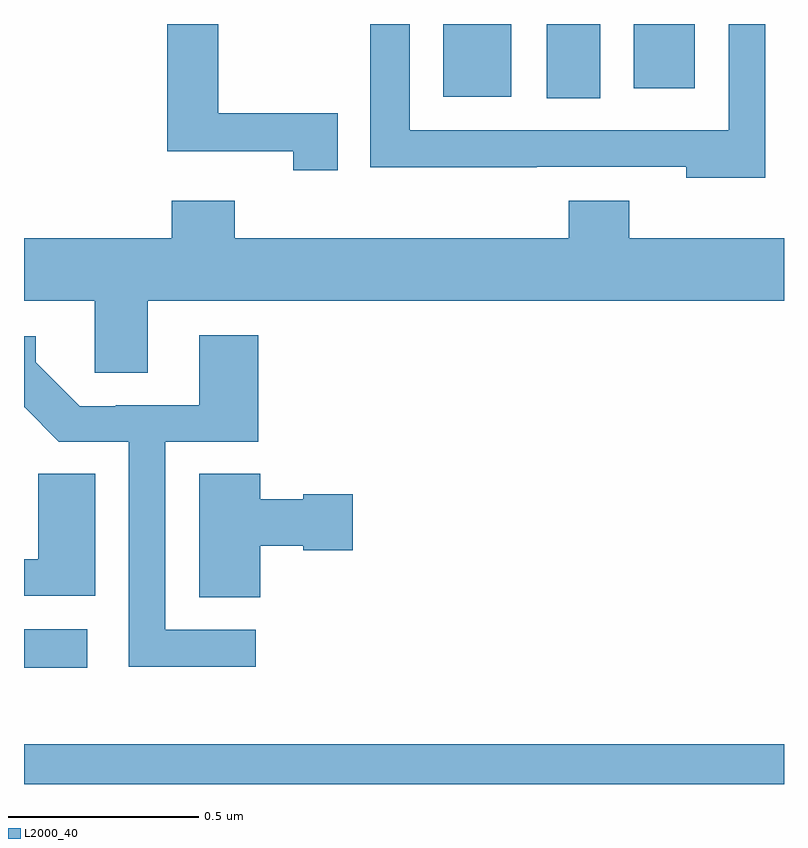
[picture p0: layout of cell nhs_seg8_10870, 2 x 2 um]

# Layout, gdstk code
import gdstk
lib = gdstk.Library(unit=1e-6, precision=1e-09)
def R(c, l, rs):  # rectangles x0, y0, x1, y1
    for r in rs: c.add(gdstk.rectangle(r[:2], r[2:], *l))
def P(c, l, *ps):  # polygons
    for p in ps: c.add(gdstk.Polygon(p, *l))
L2000_40 = (2000, 40)

nhs_seg8_10870 = lib.new_cell('nhs_seg8_10870')
R(nhs_seg8_10870, L2000_40, [(255,1109.9,257,1110.004), (255,1110.206,255.166,1110.307), (256.376,1111.705,256.516,1111.9), (256.103,1111.709,256.282,1111.9), (256.604,1111.731,256.765,1111.9)])
P(nhs_seg8_10870, L2000_40, [(255.826,1111.665),(255.511,1111.665),(255.511,1111.9),(255.377,1111.9),(255.377,1111.565),(255.709,1111.565),(255.709,1111.515),(255.826,1111.515)],
  [(256.95,1111.9),(256.854,1111.9),(256.854,1111.62),(256.015,1111.62),(256.015,1111.9),(255.911,1111.9),(255.911,1111.523),(256.349,1111.523),(256.349,1111.524),(256.743,1111.524),(256.743,1111.496),(256.95,1111.496)],
  [(255.325,1111.172),(257,1111.172),(257,1111.336),(256.593,1111.336),(256.593,1111.435),(256.433,1111.435),(256.433,1111.336),(255.554,1111.336),(255.554,1111.435),(255.389,1111.435),(255.389,1111.336),(255,1111.336),(255,1111.172),(255.186,1111.172),(255.186,1110.982),(255.325,1110.982)],
  [(255.61,1110.306),(255.372,1110.306),(255.372,1110.801),(255.617,1110.801),(255.617,1111.081),(255.461,1111.081),(255.461,1110.897),(255.241,1110.897),(255.241,1110.894),(255.147,1110.894),(255.031,1111.01),(255.031,1111.078),(255,1111.078),(255,1110.891),(255.002,1110.891),(255.092,1110.801),(255.276,1110.801),(255.276,1110.209),(255.61,1110.209)],
  [(255.187,1110.716),(255.038,1110.716),(255.038,1110.492),(255,1110.492),(255,1110.396),(255.187,1110.396)],
  [(255.622,1110.527),(255.735,1110.527),(255.735,1110.515),(255.865,1110.515),(255.865,1110.662),(255.735,1110.662),(255.735,1110.649),(255.622,1110.649),(255.622,1110.716),(255.461,1110.716),(255.461,1110.391),(255.622,1110.391)])

lib.write_gds('nhs_seg8_10870.gds')
